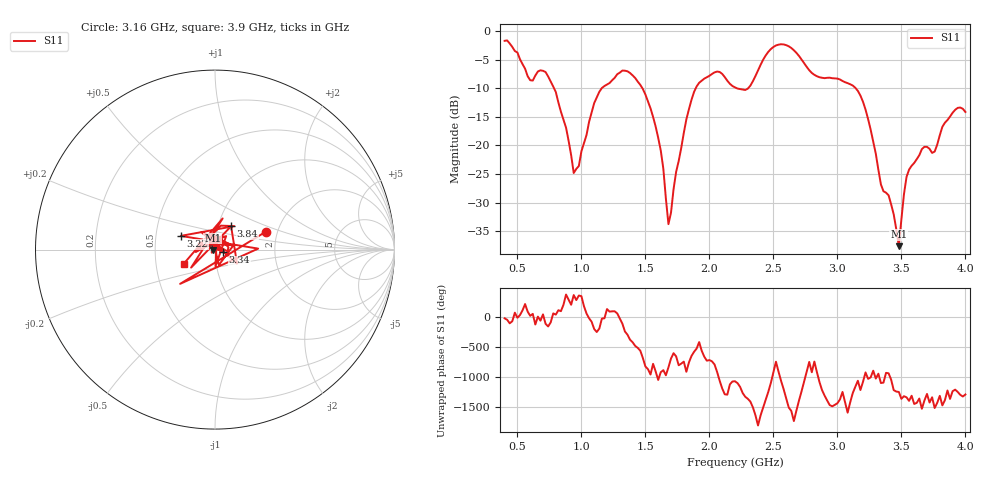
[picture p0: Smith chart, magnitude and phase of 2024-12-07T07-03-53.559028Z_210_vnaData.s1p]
!Created with skrf (http://scikit-rf.org).
# Hz S RI R 50.0
!freq ReS11 ImS11
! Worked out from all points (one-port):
!   181 points, 400 MHz to 4 GHz, reference 50 ohm
!   lowest |S11| = -37.6 dB at 3.48 GHz (marker M1), VSWR 1.03, Z = 48.7 - j0.27 ohm
!   |S11| at or under -10 dB: 785.9 MHz to 1.159 GHz (373.2 MHz wide, 38.4 % of centre); 1.476 GHz to 1.894 GHz (417.7 MHz wide, 24.8 % of centre); 3.143 GHz to end of sweep (the widest 3 of 4)
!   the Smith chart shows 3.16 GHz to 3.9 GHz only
!   S11 on the Smith chart (normalised r, x): 3.16 GHz: 1.73, +0.38; 3.22 GHz: 0.67, +0.11; 3.34 GHz: 1.09, -0.03; 3.84 GHz: 1.15, +0.31; 3.9 GHz: 0.69, -0.12
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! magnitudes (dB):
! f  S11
! 400 MHz  -1.7
! 600 MHz  -8.6
! 720 MHz  -7.2
! 860 MHz  -15.5
! 940 MHz  -24.8
! 1.12 GHz  -11.6
! 1.3 GHz  -7.3
! 1.54 GHz  -13.5
! 1.62 GHz  -20.9
! 1.68 GHz  -33.7
! 1.76 GHz  -22.7
! 1.92 GHz  -9.1
! 2.2 GHz  -9.9
! 2.3 GHz  -10.1
! 2.5 GHz  -2.8
! 2.66 GHz  -3.4
! 3.1 GHz  -9.3
! 3.16 GHz  -10.5
! 3.22 GHz  -13.7
! 3.34 GHz  -26.8
! 3.4 GHz  -28.7
! 3.48 GHz  -37.6
! 3.52 GHz  -28.5
! 3.56 GHz  -24.2
! 3.76 GHz  -21.1
! 3.84 GHz  -16.0
! 3.9 GHz  -14.3
! 4 GHz  -14.2
